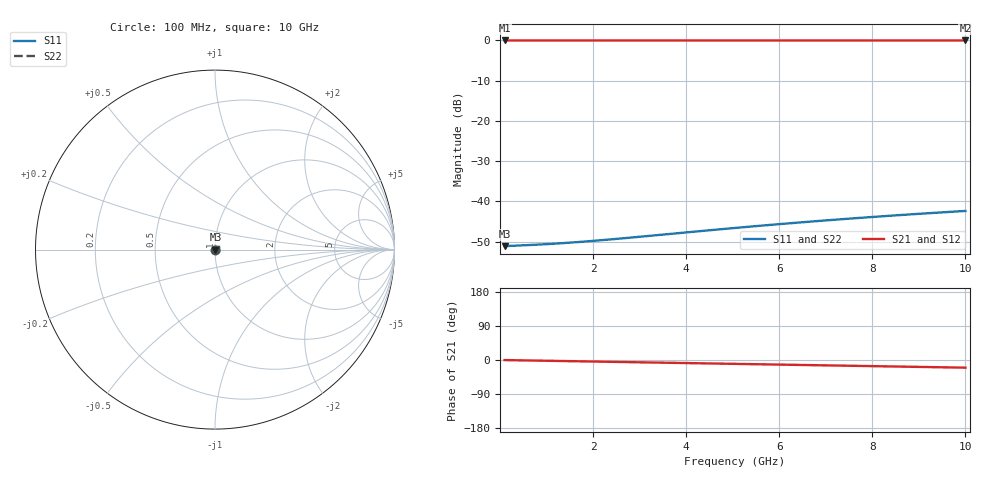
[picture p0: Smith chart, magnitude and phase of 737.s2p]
# Hz S RI R 50.00
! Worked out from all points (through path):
!   100 points, 100 MHz to 10 GHz, reference 50 ohm
!   highest |S21| = -0.02 dB at 100 MHz (marker M1); lowest = 0.0 dB at 10 GHz (marker M2)
!   group delay of S21, straight-line fit = 5.62 ps
!   lowest |S11| = -51.1 dB at 100 MHz (marker M3), VSWR 1.01, Z = 50.3 + j0.00642 ohm
!   |S11| at or under -10 dB: start of sweep to end of sweep
!   |S22| runs from -51.1 to -42.4 dB; largest |S21 - S12| = 0
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1e8  0.00278 6.38e-05  0.9972 -0.00352  0.9972 -0.00352  0.00278 6.38e-05
2e8  0.00279 0.000128  0.9972 -0.00703  0.9972 -0.00703  0.00279 0.000128
7e8  0.00285 0.000445  0.9968 -0.0246  0.9968 -0.0246  0.00285 0.000445
1e9  0.00287 0.000634  0.9965 -0.0351  0.9965 -0.0351  0.00287 0.000634
1.2e9  0.00289 0.00076  0.9962 -0.0422  0.9962 -0.0422  0.00289 0.00076
1.4e9  0.00291 0.000885  0.9959 -0.0492  0.9959 -0.0492  0.00291 0.000885
1.8e9  0.00295 0.00114  0.9951 -0.0632  0.9951 -0.0632  0.00295 0.00114
2.1e9  0.00299 0.00132  0.9943 -0.0738  0.9943 -0.0738  0.00299 0.00132
2.5e9  0.00304 0.00157  0.9931 -0.0878  0.9931 -0.0878  0.00304 0.00157
2.9e9  0.0031 0.00181  0.9918 -0.1018  0.9918 -0.1018  0.0031 0.00181
3.4e9  0.00318 0.00211  0.9898 -0.1193  0.9898 -0.1193  0.00318 0.00211
4.4e9  0.00337 0.0027  0.9849 -0.1541  0.9849 -0.1541  0.00337 0.0027
5.1e9  0.00353 0.0031  0.9808 -0.1784  0.9808 -0.1784  0.00353 0.0031
5.9e9  0.00374 0.00355  0.9753 -0.2061  0.9753 -0.2061  0.00374 0.00355
6.3e9  0.00386 0.00377  0.9723 -0.2198  0.9723 -0.2198  0.00386 0.00377
6.7e9  0.00398 0.00398  0.9691 -0.2336  0.9691 -0.2336  0.00398 0.00398
7.1e9  0.0041 0.00419  0.9656 -0.2473  0.9656 -0.2473  0.0041 0.00419
7.5e9  0.00423 0.00439  0.962 -0.2609  0.962 -0.2609  0.00423 0.00439
7.9e9  0.00437 0.00459  0.9582 -0.2745  0.9582 -0.2745  0.00437 0.00459
8.4e9  0.00455 0.00483  0.9532 -0.2914  0.9532 -0.2914  0.00455 0.00483
9.2e9  0.00486 0.00521  0.9445 -0.3183  0.9445 -0.3183  0.00486 0.00521
1e10  0.00519 0.00556  0.935 -0.3449  0.935 -0.3449  0.00519 0.00556
